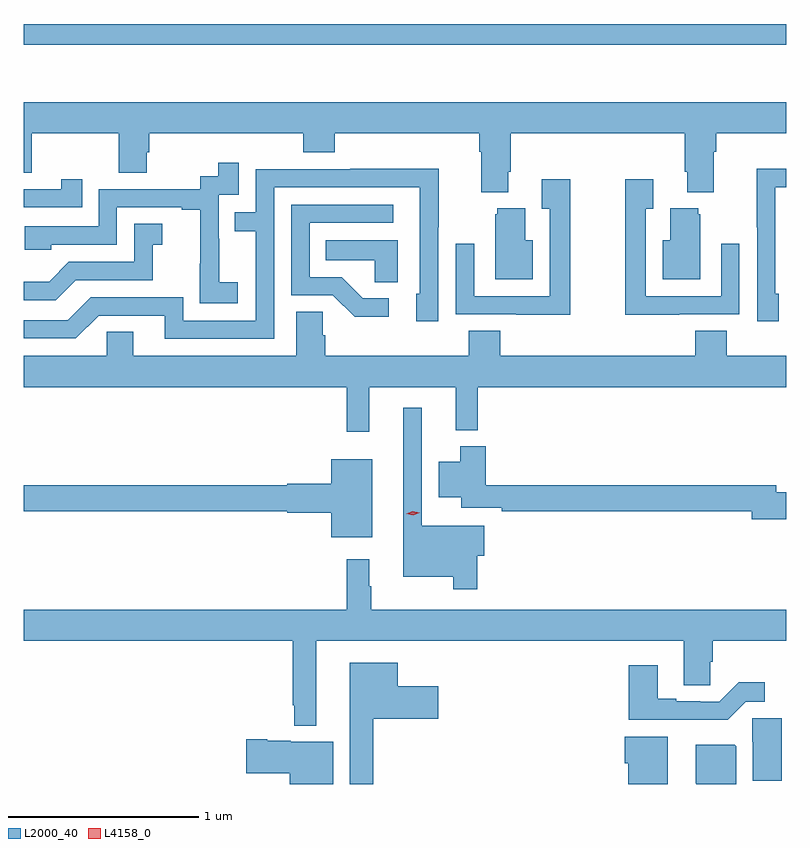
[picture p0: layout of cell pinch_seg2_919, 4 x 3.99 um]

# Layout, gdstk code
import gdstk
lib = gdstk.Library(unit=1e-6, precision=1e-09)
def R(c, l, rs):  # rectangles x0, y0, x1, y1
    for r in rs: c.add(gdstk.rectangle(r[:2], r[2:], *l))
def P(c, l, *ps):  # polygons
    for p in ps: c.add(gdstk.Polygon(p, *l))
L2000_40 = (2000, 40)
L4158_0 = (4158, 0)

pinch_seg2_919 = lib.new_cell('pinch_seg2_919')
R(pinch_seg2_919, L2000_40, [(288.286,642.774,292.286,642.882)])
P(pinch_seg2_919, L2000_40, [(288.286,642.1),(288.327,642.1),(288.327,642.308),(288.784,642.308),(288.784,642.1),(288.931,642.1),(288.931,642.21),(288.944,642.21),(288.944,642.308),(289.751,642.308),(289.751,642.209),(289.916,642.209),(289.916,642.308),(290.675,642.308),(290.675,642.212),(290.687,642.212),(290.687,641.999),(290.827,641.999),(290.827,642.106),(290.84,642.106),(290.84,642.308),(291.755,642.308),(291.755,642.106),(291.767,642.106),(291.767,641.999),(291.907,641.999),(291.907,642.212),(291.92,642.212),(291.92,642.308),(292.286,642.308),(292.286,642.472),(288.286,642.472)],
  [(289.408,641.527),(289.31,641.527),(289.31,641.756),(289.308,641.756),(289.308,641.985),(289.413,641.985),(289.413,642.154),(289.305,642.154),(289.305,642.084),(289.212,642.084),(289.212,642.015),(288.678,642.015),(288.678,641.82),(288.289,641.82),(288.289,641.697),(288.429,641.697),(288.429,641.724),(288.774,641.724),(288.774,641.919),(289.115,641.919),(289.115,641.907),(289.211,641.907),(289.211,641.623),(289.21,641.623),(289.21,641.417),(289.408,641.417)],
  [(292.249,641.466),(292.23,641.466),(292.23,642.024),(292.286,642.024),(292.286,642.122),(292.132,642.122),(292.132,641.815),(292.134,641.815),(292.134,641.322),(292.249,641.322)],
  [(289.599,642.024),(290.364,642.024),(290.364,641.466),(290.345,641.466),(290.345,641.322),(290.46,641.322),(290.46,641.815),(290.463,641.815),(290.463,642.122),(289.999,642.122),(289.999,642.12),(289.503,642.12),(289.503,641.895),(289.393,641.895),(289.393,641.794),(289.503,641.794),(289.503,641.325),(289.122,641.325),(289.122,641.448),(288.636,641.448),(288.516,641.328),(288.286,641.328),(288.286,641.232),(288.558,641.232),(288.678,641.352),(289.025,641.352),(289.025,641.229),(289.599,641.229)],
  [(291.154,642.067),(291.005,642.067),(291.005,641.911),(291.045,641.911),(291.045,641.454),(290.649,641.454),(290.649,641.728),(290.553,641.728),(290.553,641.358),(290.869,641.358),(290.869,641.357),(291.154,641.357)],
  [(291.725,641.358),(292.041,641.358),(292.041,641.728),(291.945,641.728),(291.945,641.454),(291.549,641.454),(291.549,641.911),(291.589,641.911),(291.589,642.067),(291.441,642.067),(291.441,641.357),(291.725,641.357)],
  [(288.593,642.067),(288.482,642.067),(288.482,642.015),(288.286,642.015),(288.286,641.919),(288.593,641.919)],
  [(290.2,641.442),(290.065,641.442),(289.954,641.553),(289.785,641.553),(289.785,641.838),(290.224,641.838),(290.224,641.934),(289.689,641.934),(289.689,641.457),(289.908,641.457),(290.021,641.345),(290.2,641.345)],
  [(290.956,641.746),(290.917,641.746),(290.917,641.914),(290.771,641.914),(290.771,641.883),(290.759,641.883),(290.759,641.543),(290.956,641.543)],
  [(291.835,641.883),(291.824,641.883),(291.824,641.914),(291.677,641.914),(291.677,641.746),(291.638,641.746),(291.638,641.543),(291.835,641.543)],
  [(288.559,641.538),(288.963,641.538),(288.963,641.723),(289.012,641.723),(289.012,641.833),(288.864,641.833),(288.864,641.634),(288.522,641.634),(288.418,641.53),(288.286,641.53),(288.286,641.433),(288.454,641.433)],
  [(290.248,641.746),(289.87,641.746),(289.87,641.642),(290.127,641.642),(290.127,641.527),(290.248,641.527)],
  [(290.099,640.976),(290.552,640.976),(290.552,640.751),(290.669,640.751),(290.669,640.976),(292.286,640.976),(292.286,641.14),(291.974,641.14),(291.974,641.273),(291.809,641.273),(291.809,641.14),(290.786,641.14),(290.786,641.273),(290.621,641.273),(290.621,641.14),(289.868,641.14),(289.868,641.249),(289.854,641.249),(289.854,641.372),(289.715,641.372),(289.715,641.14),(288.859,641.14),(288.859,641.267),(288.72,641.267),(288.72,641.14),(288.286,641.14),(288.286,640.976),(289.981,640.976),(289.981,640.743),(290.099,640.743)],
  [(290.666,640.091),(290.701,640.091),(290.701,640.249),(290.373,640.249),(290.373,640.867),(290.276,640.867),(290.276,639.98),(290.538,639.98),(290.538,639.915),(290.666,639.915)],
  [(292.286,640.424),(292.234,640.424),(292.234,640.46),(290.711,640.46),(290.711,640.666),(290.576,640.666),(290.576,640.585),(290.462,640.585),(290.462,640.397),(290.582,640.397),(290.582,640.344),(290.794,640.344),(290.794,640.324),(292.106,640.324),(292.106,640.282),(292.286,640.282)],
  [(290.113,640.597),(289.898,640.597),(289.898,640.468),(289.668,640.468),(289.668,640.46),(288.286,640.46),(288.286,640.324),(289.668,640.324),(289.668,640.316),(289.898,640.316),(289.898,640.187),(290.113,640.187)],
  [(289.819,639.644),(291.749,639.644),(291.749,639.412),(291.888,639.412),(291.888,639.534),(291.902,639.534),(291.902,639.644),(292.286,639.644),(292.286,639.808),(290.11,639.808),(290.11,639.932),(290.098,639.932),(290.098,640.072),(289.981,640.072),(289.981,639.808),(288.286,639.808),(288.286,639.644),(289.698,639.644),(289.698,639.307),(289.705,639.307),(289.705,639.2),(289.819,639.2)],
  [(290.119,639.236),(290.461,639.236),(290.461,639.406),(290.248,639.406),(290.248,639.529),(289.997,639.529),(289.997,638.893),(290.119,638.893)],
  [(292.074,639.324),(292.174,639.324),(292.174,639.427),(292.039,639.427),(291.936,639.324),(291.836,639.324),(291.836,639.327),(291.709,639.327),(291.709,639.34),(291.613,639.34),(291.613,639.517),(291.461,639.517),(291.461,639.23),(291.979,639.23)],
  [(292.264,639.237),(292.108,639.237),(292.108,639.114),(292.112,639.114),(292.112,638.91),(292.264,638.91)],
  [(291.664,639.142),(291.44,639.142),(291.44,639.003),(291.458,639.003),(291.458,638.893),(291.664,638.893)],
  [(289.909,639.115),(289.686,639.115),(289.686,639.121),(289.564,639.121),(289.564,639.128),(289.452,639.128),(289.452,638.95),(289.682,638.95),(289.682,638.893),(289.909,638.893)],
  [(292.024,639.092),(292.016,639.1),(291.812,639.1),(291.812,638.896),(291.815,638.893),(292.024,638.893)])
P(pinch_seg2_919, L4158_0, [(290.328,640.304),(290.292,640.311),(290.292,640.311),(290.292,640.312),(290.326,640.324),(290.362,640.316),(290.363,640.316),(290.362,640.316)])

lib.write_gds('pinch_seg2_919.gds')
